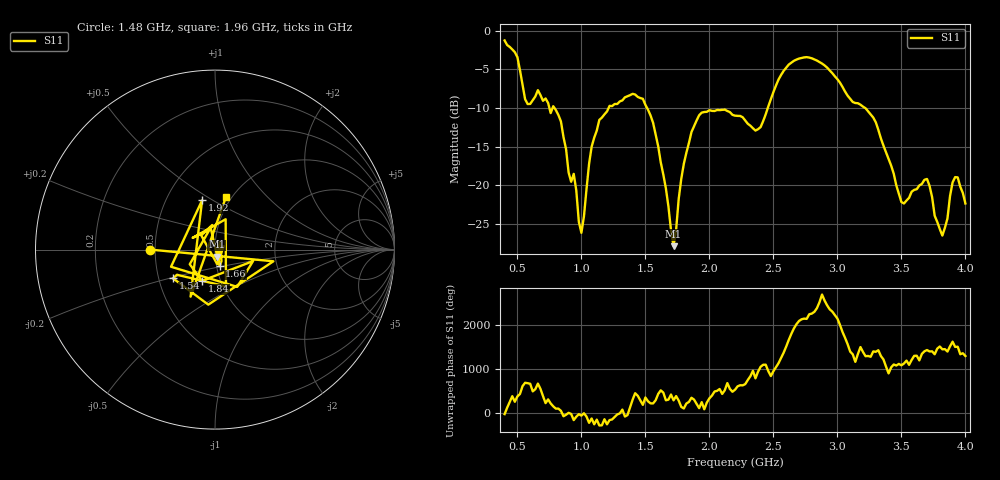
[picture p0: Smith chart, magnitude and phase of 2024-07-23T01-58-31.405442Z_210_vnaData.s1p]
!Created with skrf (http://scikit-rf.org).
# Hz S RI R 50.0
!freq ReS11 ImS11
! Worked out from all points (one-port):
!   181 points, 400 MHz to 4 GHz, reference 50 ohm
!   lowest |S11| = -27.8 dB at 1.72 GHz (marker M1), VSWR 1.08, Z = 50.9 - j4 ohm
!   |S11| at or under -10 dB: 789.9 MHz to 1.212 GHz (422.2 MHz wide, 42.2 % of centre); 1.513 GHz to 2.456 GHz (942.5 MHz wide, 47.5 % of centre); 3.218 GHz to end of sweep (the widest 3 of 4)
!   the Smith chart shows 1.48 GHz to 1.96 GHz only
!   S11 on the Smith chart (normalised r, x): 1.48 GHz: 0.47, +0.00; 1.54 GHz: 0.59, -0.21; 1.66 GHz: 1.03, -0.19; 1.84 GHz: 0.82, -0.29; 1.92 GHz: 0.75, +0.45; 1.96 GHz: 0.94, +0.60
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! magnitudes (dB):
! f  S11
! 400 MHz  -1.3
! 500 MHz  -3.4
! 580 MHz  -9.5
! 660 MHz  -7.7
! 860 MHz  -13.7
! 1 GHz  -26.1
! 1.08 GHz  -15.0
! 1.14 GHz  -11.5
! 1.3 GHz  -9.1
! 1.48 GHz  -8.8
! 1.54 GHz  -10.9
! 1.66 GHz  -20.4
! 1.72 GHz  -27.8
! 1.76 GHz  -21.7
! 1.84 GHz  -14.5
! 1.92 GHz  -10.9
! 1.96 GHz  -10.5
! 2.2 GHz  -11.0
! 2.4 GHz  -12.5
! 2.66 GHz  -3.9
! 3.1 GHz  -8.8
! 3.28 GHz  -11.2
! 3.5 GHz  -22.1
! 3.56 GHz  -21.6
! 3.7 GHz  -19.2
! 3.82 GHz  -26.5
! 3.92 GHz  -18.9
! 4 GHz  -22.3
